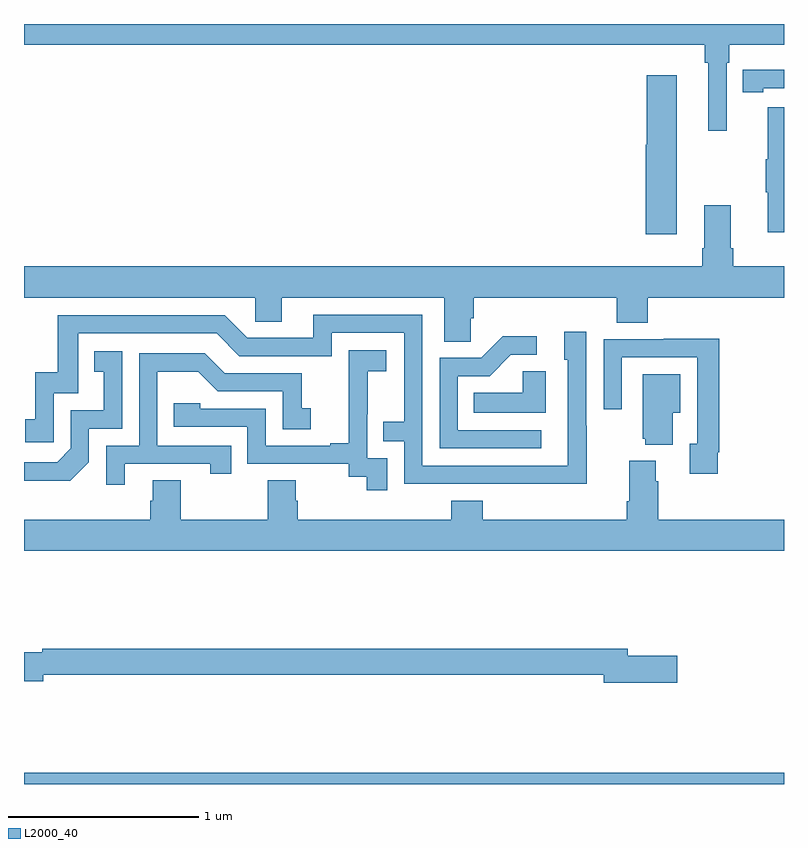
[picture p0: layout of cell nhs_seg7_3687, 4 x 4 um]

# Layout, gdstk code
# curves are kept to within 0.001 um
import gdstk
lib = gdstk.Library(unit=1e-6, precision=1e-09)
def R(c, l, rs):  # rectangles x0, y0, x1, y1
    for r in rs: c.add(gdstk.rectangle(r[:2], r[2:], *l))
def P(c, l, *ps):  # polygons
    for p in ps: c.add(gdstk.Polygon(p, *l))
L2000_40 = (2000, 40)

nhs_seg7_3687 = lib.new_cell('nhs_seg7_3687')
R(nhs_seg7_3687, L2000_40, [(345,1054,349,1054.06)])
P(nhs_seg7_3687, L2000_40, [(348.699,1057.796),(348.713,1057.796),(348.713,1057.892),(349,1057.892),(349,1058),(345,1058),(345,1057.892),(348.583,1057.892),(348.583,1057.796),(348.602,1057.796),(348.602,1057.437),(348.699,1057.437)],
  [(348.892,1057.662),(349,1057.662),(349,1057.759),(348.892,1057.759),(348.892,1057.758),(348.784,1057.758),(348.784,1057.642),(348.892,1057.642)],
  [(348.436,1057.729),(348.278,1057.729),(348.278,1057.365),(348.272,1057.365),(348.272,1056.894),(348.436,1056.894)],
  [(349,1057.561),(348.914,1057.561),(348.914,1057.289),(348.903,1057.289),(348.903,1057.115),(348.914,1057.115),(348.914,1056.903),(349,1056.903)],
  [(345,1056.56),(346.218,1056.56),(346.218,1056.433),(346.357,1056.433),(346.357,1056.56),(347.213,1056.56),(347.213,1056.328),(347.352,1056.328),(347.352,1056.451),(347.366,1056.451),(347.366,1056.56),(348.119,1056.56),(348.119,1056.427),(348.284,1056.427),(348.284,1056.56),(349,1056.56),(349,1056.724),(348.734,1056.724),(348.734,1056.82),(348.721,1056.82),(348.721,1057.045),(348.581,1057.045),(348.581,1056.82),(348.569,1056.82),(348.569,1056.724),(345,1056.724)],
  [(347.961,1055.885),(347.958,1055.885),(347.958,1056.379),(347.843,1056.379),(347.843,1056.234),(347.862,1056.234),(347.862,1055.676),(347.097,1055.676),(347.097,1056.471),(346.523,1056.471),(346.523,1056.348),(346.176,1056.348),(346.056,1056.468),(345.177,1056.468),(345.177,1056.166),(345.059,1056.166),(345.059,1055.919),(345.006,1055.919),(345.006,1055.799),(345.156,1055.799),(345.156,1056.057),(345.285,1056.057),(345.285,1056.372),(346.014,1056.372),(346.134,1056.252),(346.62,1056.252),(346.62,1056.375),(347.001,1056.375),(347.001,1055.906),(346.891,1055.906),(346.891,1055.805),(347.001,1055.805),(347.001,1055.58),(347.961,1055.579)],
  [(347.722,1055.862),(347.283,1055.862),(347.283,1056.147),(347.452,1056.147),(347.563,1056.258),(347.698,1056.258),(347.698,1056.356),(347.519,1056.356),(347.406,1056.243),(347.187,1056.243),(347.187,1055.766),(347.722,1055.766)],
  [(348.652,1055.746),(348.659,1055.746),(348.659,1056.344),(348.367,1056.344),(348.367,1056.342),(348.051,1056.342),(348.051,1055.973),(348.147,1055.973),(348.147,1056.246),(348.543,1056.246),(348.543,1055.79),(348.503,1055.79),(348.503,1055.634),(348.652,1055.634)],
  [(346.911,1055.715),(346.806,1055.715),(346.806,1055.945),(346.808,1055.945),(346.808,1056.173),(346.906,1056.173),(346.906,1056.283),(346.708,1056.283),(346.708,1056.077),(346.709,1056.077),(346.709,1055.794),(346.613,1055.794),(346.613,1055.781),(346.272,1055.781),(346.272,1055.976),(345.927,1055.976),(345.927,1056.003),(345.787,1056.003),(345.787,1055.88),(346.176,1055.88),(346.176,1055.685),(346.71,1055.685),(346.71,1055.617),(346.803,1055.617),(346.803,1055.547),(346.911,1055.547)],
  [(345.342,1055.694),(345.342,1055.871),(345.516,1055.871),(345.516,1056.277),(345.37,1056.277),(345.37,1056.171),(345.419,1056.171),(345.419,1055.967),(345.246,1055.967),(345.246,1055.766),(345.174,1055.694),(345,1055.694),(345,1055.597),(345.244,1055.597)],
  [(345.529,1055.685),(345.98,1055.685),(345.98,1055.634),(346.091,1055.634),(346.091,1055.781),(345.702,1055.781),(345.702,1056.17),(345.916,1056.17),(346.02,1056.066),(346.362,1056.066),(346.362,1055.868),(346.51,1055.868),(346.51,1055.977),(346.461,1055.977),(346.461,1056.162),(346.057,1056.162),(345.952,1056.267),(345.606,1056.267),(345.606,1055.781),(345.432,1055.781),(345.432,1055.574),(345.529,1055.574)],
  [(347.746,1056.173),(347.625,1056.173),(347.625,1056.058),(347.368,1056.058),(347.368,1055.954),(347.746,1055.954)],
  [(348.415,1055.954),(348.454,1055.954),(348.454,1056.157),(348.257,1056.157),(348.257,1055.817),(348.269,1055.817),(348.269,1055.786),(348.415,1055.786)],
  [(346.282,1055.6),(346.282,1055.392),(345.825,1055.392),(345.825,1055.6),(345.677,1055.6),(345.677,1055.49),(345.665,1055.49),(345.665,1055.392),(345,1055.392),(345,1055.228),(349,1055.228),(349,1055.392),(348.338,1055.392),(348.338,1055.594),(348.325,1055.594),(348.325,1055.701),(348.185,1055.701),(348.185,1055.488),(348.173,1055.488),(348.173,1055.392),(347.414,1055.392),(347.414,1055.491),(347.249,1055.491),(347.249,1055.392),(346.442,1055.392),(346.442,1055.49),(346.429,1055.49),(346.429,1055.6)],
  [(348.439,1054.676),(348.178,1054.676),(348.178,1054.712),(345.096,1054.712),(345.096,1054.693),(345,1054.693),(345,1054.541),(345.1,1054.541),(345.1,1054.576),(348.05,1054.576),(348.05,1054.534),(348.439,1054.534)])

lib.write_gds('nhs_seg7_3687.gds')
